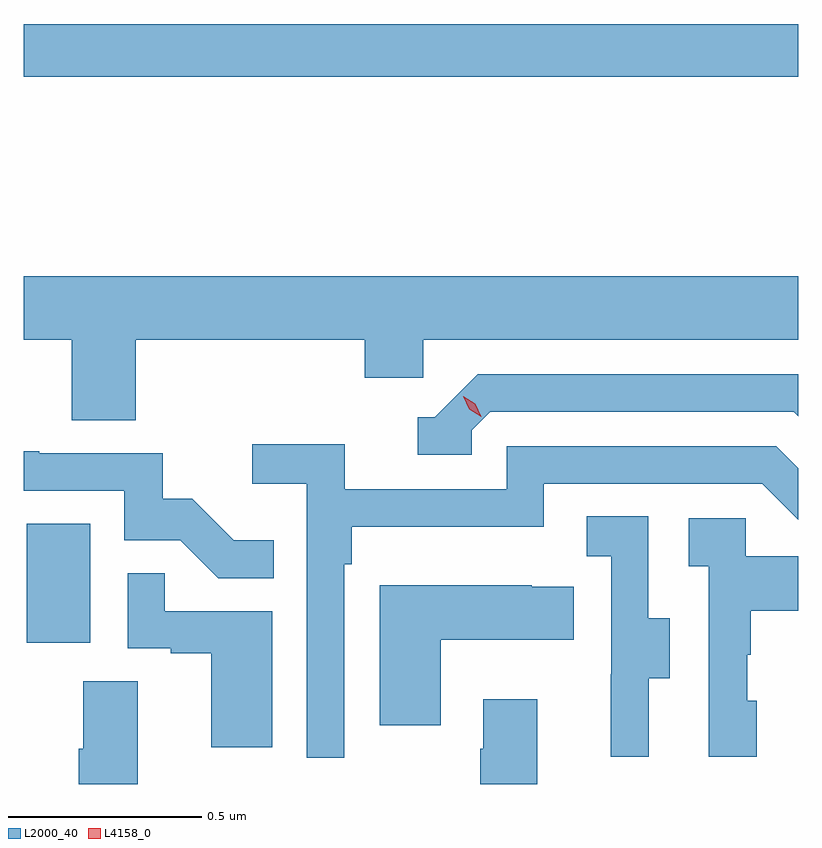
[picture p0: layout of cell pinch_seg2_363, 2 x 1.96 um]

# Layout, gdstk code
import gdstk
lib = gdstk.Library(unit=1e-6, precision=1e-09)
def R(c, l, rs):  # rectangles x0, y0, x1, y1
    for r in rs: c.add(gdstk.rectangle(r[:2], r[2:], *l))
def P(c, l, *ps):  # polygons
    for p in ps: c.add(gdstk.Polygon(p, *l))
L2000_40 = (2000, 40)
L4158_0 = (4158, 0)

pinch_seg2_363 = lib.new_cell('pinch_seg2_363')
R(pinch_seg2_363, L2000_40, [(996.044,633.534,996.208,633.841), (996.037,634.996,998.037,635.132)])
P(pinch_seg2_363, L2000_40, [(996.326,634.316),(996.917,634.316),(996.917,634.218),(997.068,634.218),(997.068,634.316),(998.037,634.316),(998.037,634.48),(996.037,634.48),(996.037,634.316),(996.161,634.316),(996.161,634.108),(996.326,634.108)],
  [(997.194,634.083),(997.242,634.131),(998.025,634.131),(998.037,634.119),(998.037,634.227),(997.209,634.227),(997.098,634.116),(997.055,634.116),(997.055,634.02),(997.194,634.02)],
  [(996.864,633.737),(996.884,633.737),(996.884,633.833),(997.38,633.833),(997.38,633.945),(997.944,633.945),(998.037,633.852),(998.037,633.985),(997.981,634.041),(997.284,634.041),(997.284,633.93),(996.866,633.93),(996.866,634.046),(996.627,634.046),(996.627,633.944),(996.768,633.944),(996.768,633.237),(996.864,633.237)],
  [(996.683,633.799),(996.579,633.799),(996.472,633.906),(996.396,633.906),(996.396,634.023),(996.077,634.023),(996.077,634.028),(996.037,634.028),(996.037,633.927),(996.297,633.927),(996.297,633.798),(996.441,633.798),(996.539,633.7),(996.683,633.7)],
  [(997.651,633.442),(997.705,633.442),(997.705,633.597),(997.65,633.597),(997.65,633.86),(997.491,633.86),(997.491,633.757),(997.554,633.757),(997.554,633.453),(997.553,633.453),(997.553,633.24),(997.651,633.24)],
  [(997.93,633.384),(997.905,633.384),(997.905,633.503),(997.915,633.503),(997.915,633.617),(998.037,633.617),(998.037,633.757),(997.902,633.757),(997.902,633.855),(997.755,633.855),(997.755,633.731),(997.806,633.731),(997.806,633.24),(997.93,633.24)],
  [(996.679,633.615),(996.401,633.615),(996.401,633.713),(996.306,633.713),(996.306,633.519),(996.417,633.519),(996.417,633.507),(996.521,633.507),(996.521,633.264),(996.679,633.264)],
  [(997.114,633.542),(997.457,633.542),(997.457,633.679),(997.349,633.679),(997.349,633.682),(996.956,633.682),(996.956,633.321),(997.114,633.321)],
  [(996.331,633.434),(996.191,633.434),(996.191,633.26),(996.179,633.26),(996.179,633.169),(996.331,633.169)],
  [(997.363,633.388),(997.223,633.388),(997.223,633.26),(997.216,633.26),(997.216,633.169),(997.363,633.169)])
P(pinch_seg2_363, L4158_0, [(997.219,634.118),(997.188,634.137),(997.172,634.17),(997.172,634.17),(997.172,634.17),(997.203,634.151),(997.219,634.118),(997.219,634.118)])

lib.write_gds('pinch_seg2_363.gds')
